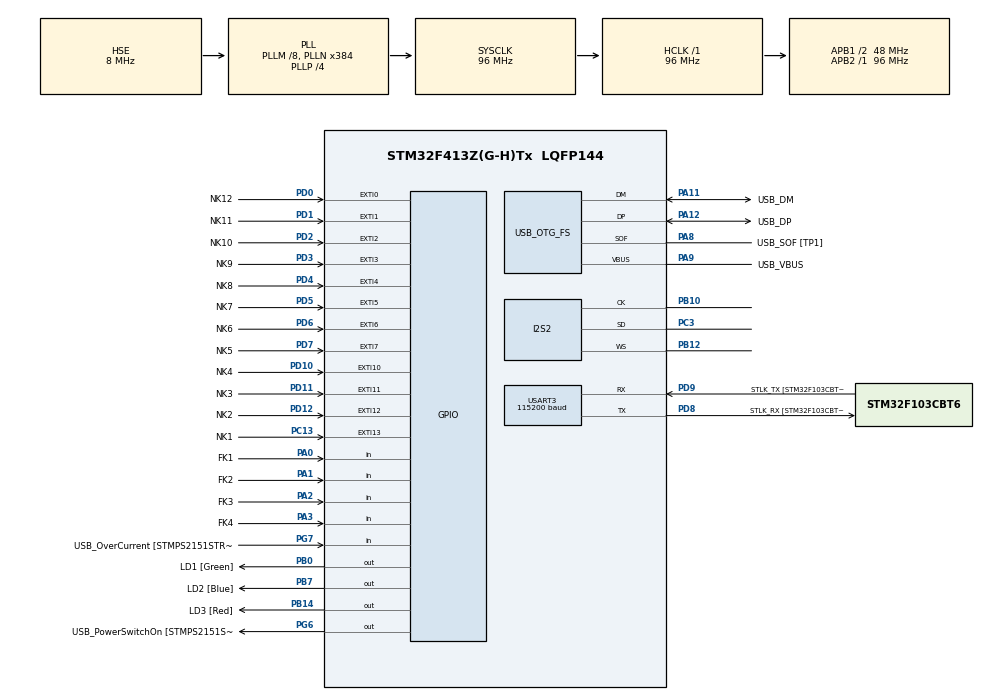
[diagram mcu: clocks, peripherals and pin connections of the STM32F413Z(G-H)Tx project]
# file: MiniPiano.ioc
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Dma.Request0=SPI2_TX
Dma.SPI2_TX.0.Direction=DMA_MEMORY_TO_PERIPH
Dma.SPI2_TX.0.FIFOMode=DMA_FIFOMODE_ENABLE
Dma.SPI2_TX.0.FIFOThreshold=DMA_FIFO_THRESHOLD_HALFFULL
Dma.SPI2_TX.0.Instance=DMA1_Stream4
Dma.SPI2_TX.0.MemBurst=DMA_MBURST_SINGLE
Dma.SPI2_TX.0.MemDataAlignment=DMA_MDATAALIGN_HALFWORD
Dma.SPI2_TX.0.MemInc=DMA_MINC_ENABLE
Dma.SPI2_TX.0.Mode=DMA_CIRCULAR
Dma.SPI2_TX.0.PeriphBurst=DMA_PBURST_SINGLE
Dma.SPI2_TX.0.PeriphDataAlignment=DMA_PDATAALIGN_HALFWORD
Dma.SPI2_TX.0.PeriphInc=DMA_PINC_DISABLE
Dma.SPI2_TX.0.Priority=DMA_PRIORITY_LOW
I2S2.AudioFreq=I2S_AUDIOFREQ_22K
I2S2.ErrorAudioFreq=-0.1 %
I2S2.FullDuplexMode=I2S_FULLDUPLEXMODE_DISABLE
I2S2.Instance=SPI$Index
I2S2.RealAudioFreq=21.978 KHz
I2S2.VirtualMode=I2S_MODE_MASTER
Mcu.Family=STM32F4
Mcu.Name=STM32F413Z(G-H)Tx
Mcu.Package=LQFP144
NVIC.DMA1_Stream4_IRQn=true\:0\:0\:false\:false\:true\:false\:true
NVIC.EXTI0_IRQn=true\:0\:0\:false\:false\:true\:true\:true
NVIC.EXTI15_10_IRQn=true\:0\:0\:false\:false\:true\:true\:true
NVIC.EXTI1_IRQn=true\:0\:0\:false\:false\:true\:true\:true
NVIC.EXTI2_IRQn=true\:0\:0\:false\:false\:true\:true\:true
NVIC.EXTI3_IRQn=true\:0\:0\:false\:false\:true\:true\:true
NVIC.EXTI4_IRQn=true\:0\:0\:false\:false\:true\:true\:true
NVIC.EXTI9_5_IRQn=true\:0\:0\:false\:false\:true\:true\:true
NVIC.PriorityGroup=NVIC_PRIORITYGROUP_4
NVIC.SPI2_IRQn=true\:0\:0\:false\:false\:true\:true\:true
NVIC.TIM2_IRQn=true\:0\:0\:false\:false\:true\:true\:true
NVIC.TIM3_IRQn=true\:0\:0\:false\:false\:true\:true\:true
PA0.GPIO_Label=FK1
PA0.Signal=GPIO_Input
PA1.GPIO_Label=FK2
PA1.Signal=GPIO_Input
PA10.GPIO_Label=USB_ID
PA10.Signal=USB_OTG_FS_ID
PA11.GPIO_Label=USB_DM
PA11.Mode=Device_Only
PA11.Signal=USB_OTG_FS_DM
PA12.GPIO_Label=USB_DP
PA12.Mode=Device_Only
PA12.Signal=USB_OTG_FS_DP
PA13.GPIO_Label=TMS
PA13.Mode=Serial_Wire
PA13.Signal=SYS_JTMS-SWDIO
PA14.GPIO_Label=TCK
PA14.Mode=Serial_Wire
PA14.Signal=SYS_JTCK-SWCLK
PA2.GPIO_Label=FK3
PA2.Signal=GPIO_Input
PA3.GPIO_Label=FK4
PA3.Signal=GPIO_Input
PA4.Signal=COMP_DAC1_group
PA8.GPIO_Label=USB_SOF [TP1]
PA8.Mode=Activate_SOF_FS
PA8.Signal=USB_OTG_FS_SOF
PA9.GPIO_Label=USB_VBUS
PA9.Mode=Activate_VBUS
PA9.Signal=USB_OTG_FS_VBUS
PB0.GPIO_Label=LD1 [Green]
PB0.Signal=GPIO_Output
PB10.Mode=Half_Duplex_Master
PB10.Signal=I2S2_CK
PB12.Mode=Half_Duplex_Master
PB12.Signal=I2S2_WS
PB14.GPIO_Label=LD3 [Red]
PB14.Signal=GPIO_Output
PB3.GPIO_Label=SWO
PB3.Signal=SYS_JTDO-SWO
PB7.GPIO_Label=LD2 [Blue]
PB7.Signal=GPIO_Output
PC13.GPIO_Label=NK1
PC13.Signal=GPXTI13
PC14-OSC32_IN.Mode=LSE-External-Oscillator
PC14-OSC32_IN.Signal=RCC_OSC32_IN
PC15-OSC32_OUT.Mode=LSE-External-Oscillator
PC15-OSC32_OUT.Signal=RCC_OSC32_OUT
PC3.Mode=Half_Duplex_Master
PC3.Signal=I2S2_SD
PD0.GPIO_Label=NK12
PD0.GPIO_PuPd=GPIO_PULLDOWN
PD0.Signal=GPXTI0
PD1.GPIO_Label=NK11
PD1.Signal=GPXTI1
PD10.GPIO_Label=NK4
PD10.Signal=GPXTI10
PD11.GPIO_Label=NK3
PD11.GPIO_PuPd=GPIO_PULLDOWN
PD11.Signal=GPXTI11
PD12.GPIO_Label=NK2
PD12.Signal=GPXTI12
PD2.GPIO_Label=NK10
PD2.GPIO_PuPd=GPIO_PULLDOWN
PD2.Signal=GPXTI2
PD3.GPIO_Label=NK9
PD3.Signal=GPXTI3
PD4.GPIO_Label=NK8
PD4.GPIO_PuPd=GPIO_PULLDOWN
PD4.Signal=GPXTI4
PD5.GPIO_Label=NK7
PD5.Signal=GPXTI5
PD6.GPIO_Label=NK6
PD6.GPIO_PuPd=GPIO_PULLDOWN
PD6.Signal=GPXTI6
PD7.GPIO_Label=NK5
PD7.GPIO_PuPd=GPIO_PULLDOWN
PD7.Signal=GPXTI7
PD8.GPIO_Label=STLK_RX [STM32F103CBT6_PA3]
PD8.Mode=Asynchronous
PD8.Signal=USART3_TX
PD9.GPIO_Label=STLK_TX [STM32F103CBT6_PA2]
PD9.Mode=Asynchronous
PD9.Signal=USART3_RX
PG6.GPIO_Label=USB_PowerSwitchOn [STMPS2151STR_EN]
PG6.Signal=GPIO_Output
PG7.GPIO_Label=USB_OverCurrent [STMPS2151STR_FAULT]
PG7.Signal=GPIO_Input
PH0\ -\ OSC_IN.GPIO_Label=MCO
PH0\ -\ OSC_IN.Mode=HSE-External-Clock-Source
PH0\ -\ OSC_IN.Signal=RCC_OSC_IN
PH1\ -\ OSC_OUT.Mode=HSE-External-Clock-Source
PH1\ -\ OSC_OUT.Signal=RCC_OSC_OUT
ProjectManager.HeapSize=0x200
ProjectManager.StackSize=0x400
ProjectManager.TargetToolchain=MDK-ARM V5
RCC.48MHZClocksFreq_Value=24000000
RCC.AHBFreq_Value=96000000
RCC.APB1CLKDivider=RCC_HCLK_DIV2
RCC.APB1Freq_Value=48000000
RCC.APB1TimFreq_Value=96000000
RCC.APB2Freq_Value=96000000
RCC.APB2TimFreq_Value=96000000
RCC.CortexFreq_Value=96000000
RCC.HCLKFreq_Value=96000000
RCC.HSE_VALUE=8000000
RCC.HSI_VALUE=16000000
RCC.PLLI2SM=4
RCC.PLLM=8
RCC.PLLMUL=RCC_PLL_MUL9
RCC.PLLN=384
RCC.PLLP=RCC_PLLP_DIV4
RCC.PLLQ=8
RCC.PRESCALERUSB=RCC_USBCLKSOURCE_PLL_DIV1_5
RCC.SYSCLKFreq_VALUE=96000000
RCC.SYSCLKSource=RCC_SYSCLKSOURCE_PLLCLK
RCC.SYSCLKSourceVirtual=RCC_SYSCLKSOURCE_PLLCLK
RCC.USBFreq_Value=48000000
RCC.VCOOutputFreq_Value=384000000
SH.COMP_DAC1_group.0=DAC_OUT1
TIM2.AutoReloadPreload=TIM_AUTORELOAD_PRELOAD_ENABLE
TIM2.Period=2176
TIM3.AutoReloadPreload=TIM_AUTORELOAD_PRELOAD_ENABLE
TIM3.Period=999
TIM3.Prescaler=95
USART3.BaudRate=115200
USART3.VirtualMode=VM_ASYNC
USB_OTG_FS.VirtualMode=Device_Only
VP_TIM2_VS_ClockSourceINT.Mode=Internal
VP_TIM3_VS_ClockSourceINT.Mode=Internal
board=NUCLEO-F413ZH

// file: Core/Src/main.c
/* USER CODE BEGIN Header */
/**
  ******************************************************************************
  * @file           : main.c
  * @brief          : Main program body
  ******************************************************************************
  * @attention
  *
  * <h2><center>&copy; Copyright (c) 2025 STMicroelectronics.
  * All rights reserved.</center></h2>
  *
  * This software component is licensed by ST under BSD 3-Clause license,
  * the "License"; You may not use this file except in compliance with the
  * License. You may obtain a copy of the License at:
  *                        opensource.org/licenses/BSD-3-Clause
  *
  ******************************************************************************
  */
/* USER CODE END Header */
#include "main.h"
#include "dma.h"
#include "i2s.h"
#include "tim.h"
#include "usart.h"
#include "usb_otg.h"
#include "gpio.h"
#include "tone.h"
/* USER CODE BEGIN Includes */
#include "inputhandler.h"
#include "wavegener.h"
#include "audiodma.h"
#include <string.h>
#include <stdio.h>
/* USER CODE END Includes */

/* USER CODE BEGIN PV */
int LEVEL = 0;
volatile	uint32_t	scan_tick = 0;
/* USER CODE END PV */

void SystemClock_Config(void);
/* USER CODE BEGIN PFP */
void HAL_I2S_TxHalfCpltCallback(I2S_HandleTypeDef *hi2s);
void HAL_I2S_TxCpltCallback(I2S_HandleTypeDef *hi2s);
void HAL_GPIO_EXTI_Callback(uint16_t GPIO_PIN);
void HAL_TIM_PeriodElapsedCallback(TIM_HandleTypeDef *htim);
void ScanFunctionKeys(void);
/* USER CODE END PFP */

int main(void)
{

  /* MCU Configuration--------------------------------------------------------*/

  /* Reset of all peripherals, Initializes the Flash interface and the Systick. */
  HAL_Init();

  /* Configure the system clock */
  SystemClock_Config();

  /* Initialize all configured peripherals */
  MX_GPIO_Init();
  MX_DMA_Init();
  MX_USART3_UART_Init();
  MX_TIM2_Init();
  MX_TIM3_Init();
  MX_USB_OTG_FS_PCD_Init();
  MX_I2S2_Init();
  /* USER CODE BEGIN 2 */
	HAL_TIM_Base_Start_IT(&htim2);
	HAL_TIM_Base_Start_IT(&htim3);
	SynthInit();
Tone_Init();
audioInit();
Tone_Apply(0);

// ??????

  /* USER CODE END 2 */

  /* Infinite loop */
  /* USER CODE BEGIN WHILE */
  while (1)
  {
		ScanFunctionKeys();
    /* USER CODE END WHILE */

  }
}

void SystemClock_Config(void)
{
  RCC_OscInitTypeDef RCC_OscInitStruct = {0};
  RCC_ClkInitTypeDef RCC_ClkInitStruct = {0};
  RCC_PeriphCLKInitTypeDef PeriphClkInitStruct = {0};

  /** Configure the main internal regulator output voltage
  */
  __HAL_RCC_PWR_CLK_ENABLE();
  __HAL_PWR_VOLTAGESCALING_CONFIG(PWR_REGULATOR_VOLTAGE_SCALE1);
  /** Initializes the RCC Oscillators according to the specified parameters
  * in the RCC_OscInitTypeDef structure.
  */
  RCC_OscInitStruct.OscillatorType = RCC_OSCILLATORTYPE_HSE;
  RCC_OscInitStruct.HSEState = RCC_HSE_BYPASS;
  RCC_OscInitStruct.PLL.PLLState = RCC_PLL_ON;
  RCC_OscInitStruct.PLL.PLLSource = RCC_PLLSOURCE_HSE;
  RCC_OscInitStruct.PLL.PLLM = 8;
  RCC_OscInitStruct.PLL.PLLN = 384;
  RCC_OscInitStruct.PLL.PLLP = RCC_PLLP_DIV4;
  RCC_OscInitStruct.PLL.PLLQ = 8;
  RCC_OscInitStruct.PLL.PLLR = 2;
  if (HAL_RCC_OscConfig(&RCC_OscInitStruct) != HAL_OK)
  {
    Error_Handler();
  }
  /** Initializes the CPU, AHB and APB buses clocks
  */
  RCC_ClkInitStruct.ClockType = RCC_CLOCKTYPE_HCLK|RCC_CLOCKTYPE_SYSCLK
                              |RCC_CLOCKTYPE_PCLK1|RCC_CLOCKTYPE_PCLK2;
  RCC_ClkInitStruct.SYSCLKSource = RCC_SYSCLKSOURCE_PLLCLK;
  RCC_ClkInitStruct.AHBCLKDivider = RCC_SYSCLK_DIV1;
  RCC_ClkInitStruct.APB1CLKDivider = RCC_HCLK_DIV2;
  RCC_ClkInitStruct.APB2CLKDivider = RCC_HCLK_DIV1;

  if (HAL_RCC_ClockConfig(&RCC_ClkInitStruct, FLASH_LATENCY_3) != HAL_OK)
  {
    Error_Handler();
  }
  PeriphClkInitStruct.PeriphClockSelection = RCC_PERIPHCLK_I2S_APB1|RCC_PERIPHCLK_CLK48;
  PeriphClkInitStruct.PLLI2S.PLLI2SN = 192;
  PeriphClkInitStruct.PLLI2S.PLLI2SM = 4;
  PeriphClkInitStruct.PLLI2S.PLLI2SR = 2;
  PeriphClkInitStruct.PLLI2S.PLLI2SQ = 2;
  PeriphClkInitStruct.Clk48ClockSelection = RCC_CLK48CLKSOURCE_PLLQ;
  PeriphClkInitStruct.PLLI2SSelection = RCC_PLLI2SCLKSOURCE_PLLSRC;
  PeriphClkInitStruct.I2sApb1ClockSelection = RCC_I2SAPB1CLKSOURCE_PLLI2S;
  if (HAL_RCCEx_PeriphCLKConfig(&PeriphClkInitStruct) != HAL_OK)
  {
    Error_Handler();
  }
}

/* USER CODE BEGIN 4 */
void HAL_I2S_TxHalfCpltCallback(I2S_HandleTypeDef *hi2s)
{
    char msg[64];
    snprintf(msg, sizeof(msg), "I2S Half Complete\r\n");
    HAL_UART_Transmit(&huart3, (uint8_t *)msg, strlen(msg), 100);

    if (hi2s->Instance == SPI2) audioSchedule();
}

void HAL_I2S_TxCpltCallback(I2S_HandleTypeDef *hi2s)
{
    char msg[64];
    snprintf(msg, sizeof(msg), "I2S Complete\r\n");
    HAL_UART_Transmit(&huart3, (uint8_t *)msg, strlen(msg), 100);

    if (hi2s->Instance == SPI2) audioSchedule();
}

void HAL_GPIO_EXTI_Callback(uint16_t GPIO_PIN)
{
	ChangeInNote(GPIO_PIN, &LEVEL);
}
void HAL_TIM_PeriodElapsedCallback(TIM_HandleTypeDef *htim)
{
    if (htim->Instance == TIM3)
    {
        scan_tick = 1;
    }
}
void ScanFunctionKeys(void)
{
    if (scan_tick)
    {
        scan_tick = 0;

        GPIO_PinState FK1S = HAL_GPIO_ReadPin(FK1_GPIO_Port, FK1_Pin);
        GPIO_PinState FK2S = HAL_GPIO_ReadPin(FK2_GPIO_Port, FK2_Pin);
        GPIO_PinState FK3S = HAL_GPIO_ReadPin(FK3_GPIO_Port, FK3_Pin);

        static uint8_t fk1_count = 0, fk2_count = 0, fk3_count = 0;
        static uint8_t fk1_last = 0, fk2_last = 0, fk3_last = 0;

        if (FK1S == GPIO_PIN_SET) {
            if (fk1_count < 5) fk1_count++;
        } else {
            if (fk1_count > 0) fk1_count--;
        }

        if (fk1_count >= 3 && fk1_last == 0) {
            fk1_last = 1;
            ChangeInNote(FK1_Pin, &LEVEL);
        } else if (fk1_count == 0 && fk1_last == 1) {
            fk1_last = 0;
        }

				if (FK2S == GPIO_PIN_SET) {
            if (fk2_count < 5) fk2_count++;
        } else {
            if (fk2_count > 0) fk2_count--;
        }

        if (fk2_count >= 3 && fk2_last == 0) {
            fk2_last = 1;
            ChangeInNote(FK2_Pin, &LEVEL);
        } else if (fk2_count == 0 && fk2_last == 1) {
            fk2_last = 0;
        }

				if (FK3S == GPIO_PIN_SET) {
            if (fk3_count < 5) fk3_count++;
        } else {
            if (fk3_count > 0) fk3_count--;
        }

        if (fk3_count >= 3 && fk3_last == 0) {
            fk3_last = 1;
            ChangeInNote(FK3_Pin, &LEVEL);
        } else if (fk3_count == 0 && fk3_last == 1) {
            fk3_last = 0;
        }
    }
}
/* USER CODE END 4 */

void Error_Handler(void)
{
  __disable_irq();
  while (1)
  {
  }
}

/************************ (C) COPYRIGHT STMicroelectronics *****END OF FILE****/
